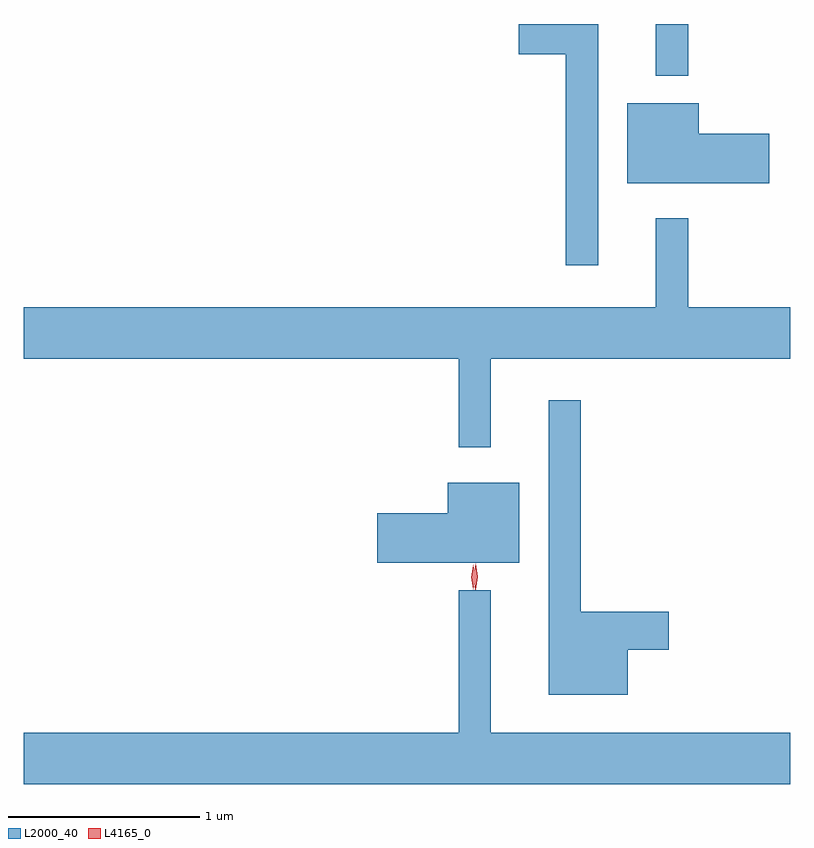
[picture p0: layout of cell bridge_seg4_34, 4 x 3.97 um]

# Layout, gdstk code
import gdstk
lib = gdstk.Library(unit=1e-6, precision=1e-09)
def R(c, l, rs):  # rectangles x0, y0, x1, y1
    for r in rs: c.add(gdstk.rectangle(r[:2], r[2:], *l))
def P(c, l, *ps):  # polygons
    for p in ps: c.add(gdstk.Polygon(p, *l))
L2000_40 = (2000, 40)
L4165_0 = (4165, 0)

bridge_seg4_34 = lib.new_cell('bridge_seg4_34')
R(bridge_seg4_34, L2000_40, [(1259.041,1336.173,1259.209,1336.443)])
P(bridge_seg4_34, L2000_40, [(1258.739,1336.443),(1258.326,1336.443),(1258.326,1336.286),(1258.571,1336.286),(1258.571,1335.183),(1258.739,1335.183)],
  [(1259.634,1335.869),(1259.264,1335.869),(1259.264,1336.029),(1258.891,1336.029),(1258.891,1335.611),(1259.634,1335.611)],
  [(1258.179,1334.696),(1259.742,1334.696),(1259.742,1334.964),(1259.209,1334.964),(1259.209,1335.428),(1259.041,1335.428),(1259.041,1334.964),(1255.742,1334.964),(1255.742,1334.696),(1258.011,1334.696),(1258.011,1334.233),(1258.179,1334.233)],
  [(1258.894,1333.176),(1259.109,1333.176),(1259.109,1333.374),(1258.649,1333.374),(1258.649,1334.478),(1258.481,1334.478),(1258.481,1332.941),(1258.894,1332.941)],
  [(1258.329,1334.049),(1257.956,1334.049),(1257.956,1333.889),(1257.586,1333.889),(1257.586,1333.631),(1258.329,1333.631)],
  [(1259.742,1332.744),(1258.179,1332.744),(1258.179,1333.488),(1258.011,1333.488),(1258.011,1332.744),(1255.742,1332.744),(1255.742,1332.476),(1259.742,1332.476)])
P(bridge_seg4_34, L4165_0, [(1258.098,1333.49),(1258.09,1333.558),(1258.1,1333.626),(1258.1,1333.626),(1258.101,1333.626),(1258.11,1333.558),(1258.1,1333.49),(1258.099,1333.49)],
  [(1258.089,1333.493),(1258.088,1333.494),(1258.078,1333.556),(1258.087,1333.619),(1258.087,1333.62),(1258.088,1333.619),(1258.098,1333.556),(1258.089,1333.494)])

lib.write_gds('bridge_seg4_34.gds')
